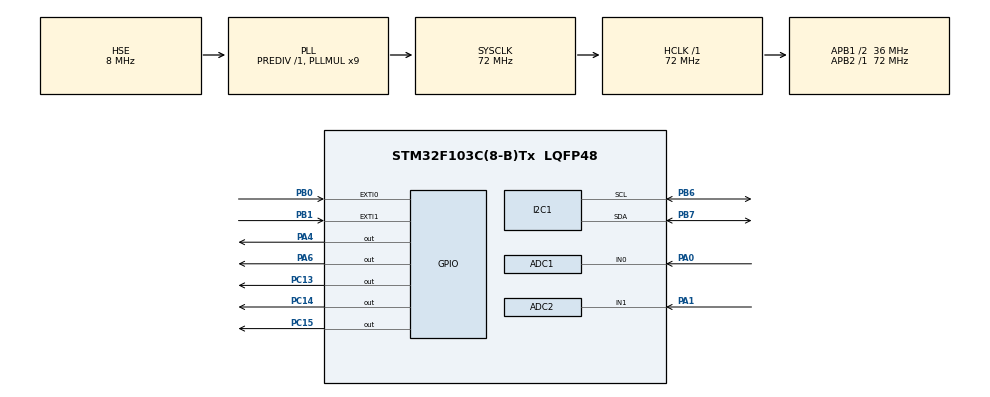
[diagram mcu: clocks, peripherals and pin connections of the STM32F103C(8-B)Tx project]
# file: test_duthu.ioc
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ADC1.Channel-0\#ChannelRegularConversion=ADC_CHANNEL_0
ADC1.ContinuousConvMode=ENABLE
ADC1.NbrOfConversion=1
ADC1.NbrOfConversionFlag=1
ADC1.Rank-0\#ChannelRegularConversion=1
ADC1.SamplingTime-0\#ChannelRegularConversion=ADC_SAMPLETIME_239CYCLES_5
ADC1.master=1
ADC2.Channel-0\#ChannelRegularConversion=ADC_CHANNEL_1
ADC2.ContinuousConvMode=ENABLE
ADC2.NbrOfConversionFlag=1
ADC2.Rank-0\#ChannelRegularConversion=1
ADC2.SamplingTime-0\#ChannelRegularConversion=ADC_SAMPLETIME_239CYCLES_5
Mcu.Family=STM32F1
Mcu.Name=STM32F103C(8-B)Tx
Mcu.Package=LQFP48
NVIC.ADC1_2_IRQn=true\:3\:0\:true\:false\:true\:true\:true
NVIC.EXTI0_IRQn=true\:2\:0\:true\:false\:true\:true\:true
NVIC.EXTI1_IRQn=true\:1\:0\:true\:false\:true\:true\:true
NVIC.PriorityGroup=NVIC_PRIORITYGROUP_4
NVIC.TIM1_UP_IRQn=true\:3\:0\:true\:false\:true\:true\:true
PA0-WKUP.Signal=ADCx_IN0
PA1.Signal=ADCx_IN1
PA13.Mode=Serial_Wire
PA13.Signal=SYS_JTMS-SWDIO
PA14.Mode=Serial_Wire
PA14.Signal=SYS_JTCK-SWCLK
PA4.Signal=GPIO_Output
PA6.Signal=GPIO_Output
PB0.GPIO_ModeDefaultEXTI=GPIO_MODE_IT_FALLING
PB0.GPIO_PuPd=GPIO_PULLUP
PB0.Signal=GPXTI0
PB1.GPIO_ModeDefaultEXTI=GPIO_MODE_IT_FALLING
PB1.GPIO_PuPd=GPIO_PULLUP
PB1.Signal=GPXTI1
PB6.Mode=I2C
PB6.Signal=I2C1_SCL
PB7.Mode=I2C
PB7.Signal=I2C1_SDA
PC13-TAMPER-RTC.Signal=GPIO_Output
PC14-OSC32_IN.Signal=GPIO_Output
PC15-OSC32_OUT.Signal=GPIO_Output
PD0-OSC_IN.Mode=HSE-External-Oscillator
PD0-OSC_IN.Signal=RCC_OSC_IN
PD1-OSC_OUT.Mode=HSE-External-Oscillator
PD1-OSC_OUT.Signal=RCC_OSC_OUT
ProjectManager.HeapSize=0x200
ProjectManager.StackSize=0x400
ProjectManager.TargetToolchain=STM32CubeIDE
RCC.ADCPresc=RCC_ADCPCLK2_DIV6
RCC.AHBFreq_Value=72000000
RCC.APB1CLKDivider=RCC_HCLK_DIV2
RCC.APB1Freq_Value=36000000
RCC.APB1TimFreq_Value=72000000
RCC.APB2Freq_Value=72000000
RCC.APB2TimFreq_Value=72000000
RCC.HCLKFreq_Value=72000000
RCC.PLLMUL=RCC_PLL_MUL9
RCC.PLLSourceVirtual=RCC_PLLSOURCE_HSE
RCC.SYSCLKFreq_VALUE=72000000
RCC.SYSCLKSource=RCC_SYSCLKSOURCE_PLLCLK
RCC.USBFreq_Value=72000000
SH.ADCx_IN0.0=ADC1_IN0,IN0
SH.ADCx_IN1.0=ADC2_IN1,IN1
TIM1.Period=4999
TIM1.Prescaler=7999
VP_TIM1_VS_ClockSourceINT.Mode=Internal
board=custom

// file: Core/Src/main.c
/* USER CODE BEGIN Header */
/**
  ******************************************************************************
  * @file           : main.c
  * @brief          : Main program body
  ******************************************************************************
  * @attention
  *
  * <h2><center>&copy; Copyright (c) 2021 STMicroelectronics.
  * All rights reserved.</center></h2>
  *
  * This software component is licensed by ST under BSD 3-Clause license,
  * the "License"; You may not use this file except in compliance with the
  * License. You may obtain a copy of the License at:
  *                        opensource.org/licenses/BSD-3-Clause
  *
  ******************************************************************************
  */
/* USER CODE END Header */
#include "main.h"

/* USER CODE BEGIN Includes */
#include "stdio.h"
#include "i2c-lcd.h"
/* USER CODE END Includes */

/* USER CODE BEGIN PD */
float temp, gas;
char x[15];
uint16_t data[2];
/* USER CODE END PD */

ADC_HandleTypeDef hadc1;
ADC_HandleTypeDef hadc2;

I2C_HandleTypeDef hi2c1;

TIM_HandleTypeDef htim1;

void SystemClock_Config(void);
static void MX_GPIO_Init(void);
static void MX_ADC1_Init(void);
static void MX_I2C1_Init(void);
static void MX_TIM1_Init(void);
static void MX_ADC2_Init(void);

/* USER CODE BEGIN 0 */

void HAL_ADC_ConvCpltCallback(ADC_HandleTypeDef* hadc){
	if(hadc->Instance == hadc1.Instance){
		data[0] = HAL_ADC_GetValue(&hadc1);

	}
	if(hadc->Instance == hadc2.Instance){
		data[1] = HAL_ADC_GetValue(&hadc2);

	}
}

void HAL_TIM_PeriodElapsedCallback(TIM_HandleTypeDef *htim)
{
	if(htim->Instance == htim1.Instance)
	{

		if(temp<35 )
		{
			  lcd_goto_XY(1, 2);
			  lcd_send_string("  AN TOAN   **");
			  HAL_GPIO_WritePin(GPIOC, GPIO_PIN_14, 1);
			  HAL_GPIO_WritePin(GPIOA, GPIO_PIN_4, 0);
			  HAL_GPIO_WritePin(GPIOA, GPIO_PIN_6, 0);
			  HAL_GPIO_WritePin(GPIOC, GPIO_PIN_15, 0);
			  HAL_GPIO_WritePin(GPIOC, GPIO_PIN_13, 0);

		}
		else if(temp<45 )
		{
				 lcd_goto_XY(1, 2);
				 lcd_send_string("  CAN THAN  **");
				 HAL_GPIO_WritePin(GPIOC, GPIO_PIN_15, 0);
				 HAL_GPIO_WritePin(GPIOC, GPIO_PIN_14, 0);
				 HAL_GPIO_WritePin(GPIOC, GPIO_PIN_13, 1);
				 HAL_GPIO_WritePin(GPIOA, GPIO_PIN_4, 0);
				 HAL_GPIO_WritePin(GPIOA, GPIO_PIN_6, 0);
				 for(int i=1000000;i>0;i--);

		 }
		else{
			lcd_goto_XY(1, 2);
			lcd_send_string("  NGUY HIEM **");
			HAL_GPIO_WritePin(GPIOC, GPIO_PIN_15, 1);
			HAL_GPIO_WritePin(GPIOA, GPIO_PIN_4, 1);
			HAL_GPIO_WritePin(GPIOA, GPIO_PIN_6, 1);
			HAL_GPIO_WritePin(GPIOC, GPIO_PIN_14, 0);
			HAL_GPIO_WritePin(GPIOC, GPIO_PIN_13, 0);

		 }
	    }
	    if(gas>2){
				  lcd_goto_XY(1,2);
				  lcd_send_string(" CO KHI GAS **");
				  HAL_GPIO_WritePin(GPIOC, GPIO_PIN_14, 0);
				  HAL_GPIO_WritePin(GPIOA, GPIO_PIN_4, 1);
				  HAL_GPIO_WritePin(GPIOA, GPIO_PIN_6, 1);
				  HAL_GPIO_WritePin(GPIOC, GPIO_PIN_15, 0);
				  HAL_GPIO_WritePin(GPIOC, GPIO_PIN_13, 0);
				  }
}
void HAL_GPIO_EXTI_Callback(uint16_t GPIO_Pin)
{
	if (GPIO_Pin == GPIO_PIN_0){
		lcd_goto_XY(1, 2);
		lcd_send_string("  NGUY HIEM **");
		HAL_GPIO_WritePin(GPIOA, GPIO_PIN_4, 1);
		HAL_GPIO_WritePin(GPIOA, GPIO_PIN_6, 1);
		int b= 100000000;
		while(b--);
		HAL_GPIO_WritePin(GPIOC, GPIO_PIN_13, 0);
		HAL_GPIO_WritePin(GPIOA, GPIO_PIN_4, 0);
		HAL_GPIO_WritePin(GPIOA, GPIO_PIN_6, 0);
		__HAL_GPIO_EXTI_CLEAR_IT(GPIO_PIN_0);
		HAL_NVIC_ClearPendingIRQ(EXTI0_IRQn);
	}
	if (GPIO_Pin == GPIO_PIN_1){
		HAL_GPIO_WritePin(GPIOA, GPIO_PIN_4, 0);
		HAL_GPIO_WritePin(GPIOA, GPIO_PIN_6, 0);
		__HAL_GPIO_EXTI_CLEAR_IT(GPIO_PIN_1);
		HAL_NVIC_ClearPendingIRQ(EXTI1_IRQn);

	}
}
/* USER CODE END 0 */

int main(void)
{

  /* MCU Configuration--------------------------------------------------------*/

  /* Reset of all peripherals, Initializes the Flash interface and the Systick. */
  HAL_Init();

  /* Configure the system clock */
  SystemClock_Config();

  /* Initialize all configured peripherals */
  MX_GPIO_Init();
  MX_ADC1_Init();
  MX_I2C1_Init();
  MX_TIM1_Init();
  MX_ADC2_Init();
  /* USER CODE BEGIN 2 */
  lcd_init();
  lcd_goto_XY(1, 0);
  lcd_send_string("  DE TAI:       ");
  lcd_goto_XY(2, 0);
  lcd_send_string(" CANH BAO CHAY  ");
  HAL_Delay(3000);
  lcd_goto_XY(1, 0);
  lcd_send_string("**");
  HAL_Delay(50);
  lcd_goto_XY(2, 0);
  lcd_send_string("T:");
  lcd_goto_XY(2,10);
  lcd_send_string(" GAS:");
  HAL_TIM_Base_Start_IT(&htim1);
  HAL_ADC_Start_IT(&hadc1);
  HAL_ADC_Start_IT(&hadc2);
  /* USER CODE END 2 */

  /* Infinite loop */
  /* USER CODE BEGIN WHILE */
  while (1)
  {
	  temp= (data[0]*3.22*100)/4096;
	  gas= (data[1]*5.)/4096;
	  HAL_Delay(100);
	  sprintf(x,"%.2f*C ",temp);
	  lcd_goto_XY(2,2);
	  lcd_send_string(x);
	  if(gas>3){
	  lcd_goto_XY(2, 15);
	  lcd_send_string("1 ");
	  }
	  else
	  {
	  lcd_goto_XY(2, 15);
	  lcd_send_string("0 ");
	  }
	  HAL_Delay(1000);
    /* USER CODE END WHILE */

  }
}

void SystemClock_Config(void)
{
  RCC_OscInitTypeDef RCC_OscInitStruct = {0};
  RCC_ClkInitTypeDef RCC_ClkInitStruct = {0};
  RCC_PeriphCLKInitTypeDef PeriphClkInit = {0};

  /** Initializes the RCC Oscillators according to the specified parameters
  * in the RCC_OscInitTypeDef structure.
  */
  RCC_OscInitStruct.OscillatorType = RCC_OSCILLATORTYPE_HSE;
  RCC_OscInitStruct.HSEState = RCC_HSE_ON;
  RCC_OscInitStruct.HSEPredivValue = RCC_HSE_PREDIV_DIV1;
  RCC_OscInitStruct.HSIState = RCC_HSI_ON;
  RCC_OscInitStruct.PLL.PLLState = RCC_PLL_ON;
  RCC_OscInitStruct.PLL.PLLSource = RCC_PLLSOURCE_HSE;
  RCC_OscInitStruct.PLL.PLLMUL = RCC_PLL_MUL9;
  if (HAL_RCC_OscConfig(&RCC_OscInitStruct) != HAL_OK)
  {
    Error_Handler();
  }
  /** Initializes the CPU, AHB and APB buses clocks
  */
  RCC_ClkInitStruct.ClockType = RCC_CLOCKTYPE_HCLK|RCC_CLOCKTYPE_SYSCLK
                              |RCC_CLOCKTYPE_PCLK1|RCC_CLOCKTYPE_PCLK2;
  RCC_ClkInitStruct.SYSCLKSource = RCC_SYSCLKSOURCE_PLLCLK;
  RCC_ClkInitStruct.AHBCLKDivider = RCC_SYSCLK_DIV1;
  RCC_ClkInitStruct.APB1CLKDivider = RCC_HCLK_DIV2;
  RCC_ClkInitStruct.APB2CLKDivider = RCC_HCLK_DIV1;

  if (HAL_RCC_ClockConfig(&RCC_ClkInitStruct, FLASH_LATENCY_2) != HAL_OK)
  {
    Error_Handler();
  }
  PeriphClkInit.PeriphClockSelection = RCC_PERIPHCLK_ADC;
  PeriphClkInit.AdcClockSelection = RCC_ADCPCLK2_DIV6;
  if (HAL_RCCEx_PeriphCLKConfig(&PeriphClkInit) != HAL_OK)
  {
    Error_Handler();
  }
}

static void MX_ADC1_Init(void)
{

  ADC_ChannelConfTypeDef sConfig = {0};

  /** Common config
  */
  hadc1.Instance = ADC1;
  hadc1.Init.ScanConvMode = ADC_SCAN_DISABLE;
  hadc1.Init.ContinuousConvMode = ENABLE;
  hadc1.Init.DiscontinuousConvMode = DISABLE;
  hadc1.Init.ExternalTrigConv = ADC_SOFTWARE_START;
  hadc1.Init.DataAlign = ADC_DATAALIGN_RIGHT;
  hadc1.Init.NbrOfConversion = 1;
  if (HAL_ADC_Init(&hadc1) != HAL_OK)
  {
    Error_Handler();
  }
  /** Configure Regular Channel
  */
  sConfig.Channel = ADC_CHANNEL_0;
  sConfig.Rank = ADC_REGULAR_RANK_1;
  sConfig.SamplingTime = ADC_SAMPLETIME_239CYCLES_5;
  if (HAL_ADC_ConfigChannel(&hadc1, &sConfig) != HAL_OK)
  {
    Error_Handler();
  }

}

static void MX_ADC2_Init(void)
{

  ADC_ChannelConfTypeDef sConfig = {0};

  /** Common config
  */
  hadc2.Instance = ADC2;
  hadc2.Init.ScanConvMode = ADC_SCAN_DISABLE;
  hadc2.Init.ContinuousConvMode = ENABLE;
  hadc2.Init.DiscontinuousConvMode = DISABLE;
  hadc2.Init.ExternalTrigConv = ADC_SOFTWARE_START;
  hadc2.Init.DataAlign = ADC_DATAALIGN_RIGHT;
  hadc2.Init.NbrOfConversion = 1;
  if (HAL_ADC_Init(&hadc2) != HAL_OK)
  {
    Error_Handler();
  }
  /** Configure Regular Channel
  */
  sConfig.Channel = ADC_CHANNEL_1;
  sConfig.Rank = ADC_REGULAR_RANK_1;
  sConfig.SamplingTime = ADC_SAMPLETIME_239CYCLES_5;
  if (HAL_ADC_ConfigChannel(&hadc2, &sConfig) != HAL_OK)
  {
    Error_Handler();
  }

}

static void MX_I2C1_Init(void)
{

  hi2c1.Instance = I2C1;
  hi2c1.Init.ClockSpeed = 100000;
  hi2c1.Init.DutyCycle = I2C_DUTYCYCLE_2;
  hi2c1.Init.OwnAddress1 = 0;
  hi2c1.Init.AddressingMode = I2C_ADDRESSINGMODE_7BIT;
  hi2c1.Init.DualAddressMode = I2C_DUALADDRESS_DISABLE;
  hi2c1.Init.OwnAddress2 = 0;
  hi2c1.Init.GeneralCallMode = I2C_GENERALCALL_DISABLE;
  hi2c1.Init.NoStretchMode = I2C_NOSTRETCH_DISABLE;
  if (HAL_I2C_Init(&hi2c1) != HAL_OK)
  {
    Error_Handler();
  }

}

static void MX_TIM1_Init(void)
{

  TIM_ClockConfigTypeDef sClockSourceConfig = {0};
  TIM_MasterConfigTypeDef sMasterConfig = {0};

  htim1.Instance = TIM1;
  htim1.Init.Prescaler = 7999;
  htim1.Init.CounterMode = TIM_COUNTERMODE_UP;
  htim1.Init.Period = 4999;
  htim1.Init.ClockDivision = TIM_CLOCKDIVISION_DIV1;
  htim1.Init.RepetitionCounter = 0;
  htim1.Init.AutoReloadPreload = TIM_AUTORELOAD_PRELOAD_DISABLE;
  if (HAL_TIM_Base_Init(&htim1) != HAL_OK)
  {
    Error_Handler();
  }
  sClockSourceConfig.ClockSource = TIM_CLOCKSOURCE_INTERNAL;
  if (HAL_TIM_ConfigClockSource(&htim1, &sClockSourceConfig) != HAL_OK)
  {
    Error_Handler();
  }
  sMasterConfig.MasterOutputTrigger = TIM_TRGO_RESET;
  sMasterConfig.MasterSlaveMode = TIM_MASTERSLAVEMODE_DISABLE;
  if (HAL_TIMEx_MasterConfigSynchronization(&htim1, &sMasterConfig) != HAL_OK)
  {
    Error_Handler();
  }

}

static void MX_GPIO_Init(void)
{
  GPIO_InitTypeDef GPIO_InitStruct = {0};

  /* GPIO Ports Clock Enable */
  __HAL_RCC_GPIOC_CLK_ENABLE();
  __HAL_RCC_GPIOD_CLK_ENABLE();
  __HAL_RCC_GPIOA_CLK_ENABLE();
  __HAL_RCC_GPIOB_CLK_ENABLE();

  /*Configure GPIO pin Output Level */
  HAL_GPIO_WritePin(GPIOC, GPIO_PIN_13|GPIO_PIN_14|GPIO_PIN_15, GPIO_PIN_RESET);

  /*Configure GPIO pin Output Level */
  HAL_GPIO_WritePin(GPIOA, GPIO_PIN_4|GPIO_PIN_6, GPIO_PIN_RESET);

  /*Configure GPIO pins : PC13 PC14 PC15 */
  GPIO_InitStruct.Pin = GPIO_PIN_13|GPIO_PIN_14|GPIO_PIN_15;
  GPIO_InitStruct.Mode = GPIO_MODE_OUTPUT_PP;
  GPIO_InitStruct.Pull = GPIO_NOPULL;
  GPIO_InitStruct.Speed = GPIO_SPEED_FREQ_LOW;
  HAL_GPIO_Init(GPIOC, &GPIO_InitStruct);

  /*Configure GPIO pins : PA4 PA6 */
  GPIO_InitStruct.Pin = GPIO_PIN_4|GPIO_PIN_6;
  GPIO_InitStruct.Mode = GPIO_MODE_OUTPUT_PP;
  GPIO_InitStruct.Pull = GPIO_NOPULL;
  GPIO_InitStruct.Speed = GPIO_SPEED_FREQ_LOW;
  HAL_GPIO_Init(GPIOA, &GPIO_InitStruct);

  /*Configure GPIO pins : PB0 PB1 */
  GPIO_InitStruct.Pin = GPIO_PIN_0|GPIO_PIN_1;
  GPIO_InitStruct.Mode = GPIO_MODE_IT_FALLING;
  GPIO_InitStruct.Pull = GPIO_PULLUP;
  HAL_GPIO_Init(GPIOB, &GPIO_InitStruct);

  /* EXTI interrupt init*/
  HAL_NVIC_SetPriority(EXTI0_IRQn, 2, 0);
  HAL_NVIC_EnableIRQ(EXTI0_IRQn);

  HAL_NVIC_SetPriority(EXTI1_IRQn, 1, 0);
  HAL_NVIC_EnableIRQ(EXTI1_IRQn);

}

void Error_Handler(void)
{
  __disable_irq();
  while (1)
  {
  }
}

/************************ (C) COPYRIGHT STMicroelectronics *****END OF FILE****/
